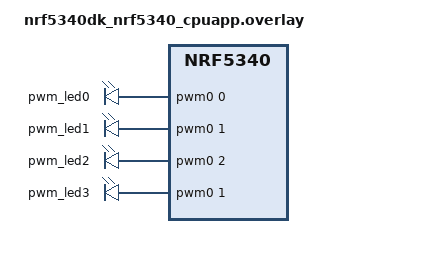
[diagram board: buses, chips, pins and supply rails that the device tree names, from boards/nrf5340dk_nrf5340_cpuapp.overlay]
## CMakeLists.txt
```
# SPDX-License-Identifier: Apache-2.0

cmake_minimum_required(VERSION 3.20.0)
find_package(Zephyr REQUIRED HINTS $ENV{ZEPHYR_BASE})
project(blinky)

target_sources(app PRIVATE src/main.c 
						   src/app_sensors.c 
						   src/app_bt.c
						   src/app_led.c)
target_include_directories(app PRIVATE include ../common/include)
```

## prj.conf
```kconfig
# Bluetooth configuration
CONFIG_BT=y
CONFIG_BT_PERIPHERAL=y
CONFIG_BT_DEVICE_NAME="Whack-A-Mole Button"
CONFIG_BT_DEVICE_APPEARANCE=833
CONFIG_BT_MAX_CONN=1
CONFIG_BT_NUS=y
```

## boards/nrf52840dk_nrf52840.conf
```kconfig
CONFIG_GPIO=y
CONFIG_PWM=y
CONFIG_CONSOLE=y
CONFIG_LOG=y
CONFIG_LOG_BACKEND_RTT=y
CONFIG_RTT_CONSOLE=y

# Bluetooth configuration
CONFIG_BT=y
CONFIG_BT_PERIPHERAL=y
CONFIG_BT_DEVICE_NAME="Whack-A-Mole Button"
CONFIG_BT_DEVICE_APPEARANCE=833
CONFIG_BT_MAX_CONN=1
CONFIG_BT_NUS=y
```

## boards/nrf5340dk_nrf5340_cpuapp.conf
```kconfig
CONFIG_GPIO=y
CONFIG_PWM=y
CONFIG_CONSOLE=y
CONFIG_LOG=y
```

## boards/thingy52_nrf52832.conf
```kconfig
CONFIG_GPIO=y
CONFIG_I2C=y
CONFIG_SENSOR=y
CONFIG_MPU6050=y
CONFIG_MPU6050_TRIGGER_NONE=y
CONFIG_CONSOLE=y
CONFIG_LOG=y
CONFIG_LOG_BACKEND_RTT=y
CONFIG_RTT_CONSOLE=y
```

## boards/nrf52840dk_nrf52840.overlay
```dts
/ {
    pwmleds {
		compatible = "pwm-leds";
		pwm_led1: pwm_led_1 {
			pwms = <&pwm0 1 PWM_MSEC(20) PWM_POLARITY_INVERTED>;
		};
        pwm_led2: pwm_led_2 {
			pwms = <&pwm0 2 PWM_MSEC(20) PWM_POLARITY_INVERTED>;
		};
        pwm_led3: pwm_led_3 {
			pwms = <&pwm0 1 PWM_MSEC(20) PWM_POLARITY_INVERTED>;
		};
	};
};
&pinctrl {
    pwm0_default: pwm0_default {
		group1 {
			psels = <NRF_PSEL(PWM_OUT0, 0, 13)>,
                    <NRF_PSEL(PWM_OUT1, 0, 14)>,
                    <NRF_PSEL(PWM_OUT2, 0, 15)>,
                    <NRF_PSEL(PWM_OUT3, 0, 16)>;
			nordic,invert;
		};
	};

	pwm0_sleep: pwm0_sleep {
		group1 {
			psels = <NRF_PSEL(PWM_OUT0, 0, 13)>,
                    <NRF_PSEL(PWM_OUT1, 0, 14)>,
                    <NRF_PSEL(PWM_OUT2, 0, 15)>,
                    <NRF_PSEL(PWM_OUT3, 0, 16)>;
			low-power-enable;
		};
	};
};
```

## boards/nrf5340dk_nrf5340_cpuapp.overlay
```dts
/ {
    pwmleds {
		compatible = "pwm-leds";
		pwm_led0: pwm_led_0 {
			pwms = <&pwm0 0 PWM_MSEC(20) PWM_POLARITY_INVERTED>;
		};
		pwm_led1: pwm_led_1 {
			pwms = <&pwm0 1 PWM_MSEC(20) PWM_POLARITY_INVERTED>;
		};
        pwm_led2: pwm_led_2 {
			pwms = <&pwm0 2 PWM_MSEC(20) PWM_POLARITY_INVERTED>;
		};
        pwm_led3: pwm_led_3 {
			pwms = <&pwm0 1 PWM_MSEC(20) PWM_POLARITY_INVERTED>;
		};
	};
};
&pinctrl {
    pwm0_default: pwm0_default {
		group1 {
			psels = <NRF_PSEL(PWM_OUT0, 0, 28)>,
                    <NRF_PSEL(PWM_OUT1, 0, 29)>,
                    <NRF_PSEL(PWM_OUT2, 0, 30)>,
                    <NRF_PSEL(PWM_OUT3, 0, 31)>;
			nordic,invert;
		};
	};

	pwm0_sleep: pwm0_sleep {
		group1 {
			psels = <NRF_PSEL(PWM_OUT0, 0, 28)>,
                    <NRF_PSEL(PWM_OUT1, 0, 29)>,
                    <NRF_PSEL(PWM_OUT2, 0, 30)>,
                    <NRF_PSEL(PWM_OUT3, 0, 31)>;
			low-power-enable;
		};
	};
};
```

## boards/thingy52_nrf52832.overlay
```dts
// To get started, press Ctrl+Space to bring up the completion menu and view the available nodes.

// You can also use the buttons in the sidebar to perform actions on nodes.
// Actions currently available include:

// * Enabling / disabling the node
// * Adding the bus to a bus
// * Removing the node
// * Connecting ADC channels

// For more help, browse the DeviceTree documentation at https://docs.zephyrproject.org/latest/guides/dts/index.html
// You can also visit the nRF DeviceTree extension documentation at https://nrfconnect.github.io/vscode-nrf-connect/devicetree/nrfdevicetree.html
&i2c0 {
	mpu9250: mpu9250@68 {
		compatible = "invensense,mpu6050";
		reg = <0x68>;
		status = "okay";
		label = "MPU9250";
		int-gpios = <&gpio0 06 GPIO_ACTIVE_HIGH>;
	};
};

&sx1509b {
	status = "okay";
};
```

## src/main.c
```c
/*
 * Copyright (c) 2016 Intel Corporation
 *
 * SPDX-License-Identifier: Apache-2.0
 */

#include <zephyr/kernel.h>
#include <zephyr/drivers/gpio.h>
#include <zephyr/device.h>
#include <app_sensors.h>
#include <app_bt.h>
#include <app_led.h>
#include <string.h>
#include <stdio.h>

/* 1000 msec = 1 sec */
#define SLEEP_TIME_MS   1000

#define BUTTON0_NODE DT_NODELABEL(button0)

static const struct gpio_dt_spec button = GPIO_DT_SPEC_GET(BUTTON0_NODE, gpios);

static struct {
	bool trial_started;
	uint32_t start_time;
	uint32_t time; 
} m_trial_data = {0};

void challenge_timeout_func(struct k_timer *timer_id); 
K_TIMER_DEFINE(m_timer_challenge_timeout, challenge_timeout_func, NULL);

void trial_done_func(struct k_work *work)
{
	static uint8_t rsp_string[32];
	app_led_set(LED_COLOR_BLACK);
	printk("Trial completed in %i milliseconds\n", m_trial_data.time);
	sprintf(rsp_string, "TD:%.6i", m_trial_data.time);
	app_bt_send(rsp_string, strlen(rsp_string));
}

void trial_timeout_func(struct k_work *work)
{
	app_led_set(LED_COLOR_BLACK);
	app_bt_send("TO", 2);
}

void send_ping_func(struct k_work *work)
{
	app_bt_send("PING", 4);
}

K_WORK_DEFINE(m_work_trial_done, trial_done_func);
K_WORK_DEFINE(m_work_trial_timeout, trial_timeout_func);
K_WORK_DEFINE(m_work_send_ping, send_ping_func);

void on_button_pressed(const struct device *port, struct gpio_callback *cb, gpio_port_pins_t pins)
{
	if(m_trial_data.trial_started) {
		m_trial_data.time = k_uptime_get_32() - m_trial_data.start_time;
		m_trial_data.trial_started = false;		
		k_work_submit(&m_work_trial_done);
	}
	else {
		k_work_submit(&m_work_send_ping);
	}
}

void challenge_timeout_func(struct k_timer *timer_id)
{
	if (m_trial_data.trial_started) {
		m_trial_data.trial_started = false;
		k_work_submit(&m_work_trial_timeout);
	}
}

static int button_led_init(void)
{
	int ret;

	ret = app_led_init();
	if (ret < 0) {
		printk("LED init error (err %i)", ret);
		return ret;
	}

	if (!device_is_ready(button.port)) {
		return -1;
	}

	ret = gpio_pin_configure_dt(&button, GPIO_INPUT);
	if (ret < 0) {
		return -1;
	}
	
	ret = gpio_pin_interrupt_configure_dt(&button, GPIO_INT_EDGE_TO_ACTIVE);
	if (ret != 0) {
		printk("Error %d: failed to configure interrupt on %s pin %d\n",
			ret, button.port->name, button.pin);
		return ret;
	}
	
	static struct gpio_callback button_callback;
	gpio_init_callback(&button_callback, on_button_pressed, BIT(button.pin));
	gpio_add_callback(button.port, &button_callback);

	return 0;
}

void sensors_callback(app_sensors_event_t *event)
{

}

void bluetooth_callback(app_bt_event_t *event)
{
	switch(event->type) {
		case APP_BT_EVT_CONNECTED:
			printk("Bluetooth connected\n");
			app_led_set(LED_COLOR_BLACK);
			m_trial_data.trial_started = false;
			break;
		case APP_BT_EVT_DISCONNECTED:
			printk("Bluetooth disconnected\n");
			app_led_blink(LED_COLOR_BLUE, LED_COLOR_BLACK, 250);
			break;
		case APP_BT_EVT_RX:
#if 0
			printk("BT RX:");
			for(int i = 0; i < event->length; i++) {
				if(event->buf[i] > 32 && event->buf[i] < 128) printk("0x%.2X '%c' ", event->buf[i], event->buf[i]);
				else printk("0x%.2X ", event->buf[i]);
			} 
			printk("\n");
#endif
			// LED command 
			// L - Start trial (0/1) - Led mode (P/B) - Color 1 RGB - Color 2 RGB - Color End RGB - Speed - Num repeats (255 - infinite)
			// 0 - 1                 - 2              - 3 4 5       -  6 7 8      - 9 10 11       - 12    - 13      
			if(event->buf[0] == 'L' && event->length >= 14) {
				led_effect_cfg_t led_effect;
				// Check if a new challenge/trial should be started
				if(event->buf[1] == '1' && !m_trial_data.trial_started) {
					m_trial_data.trial_started = true;
					m_trial_data.start_time = k_uptime_get_32();
				}
				// Check if a new challenge/trial with timeout should be started
				else if(event->buf[1] == '2' && !m_trial_data.trial_started && event->length >= 16) {
					m_trial_data.trial_started = true;
					m_trial_data.start_time = k_uptime_get_32();

					uint16_t timeout_ms = (uint16_t)event->buf[14] << 8 | (uint16_t)event->buf[15];
					k_timer_start(&m_timer_challenge_timeout, K_MSEC(timeout_ms), K_MSEC(0));
				}
				// Check if we should blink the LED
				if(event->buf[2] == 'P') {
					led_effect.type = LED_EFFECT_PULSE;
					led_effect.color1 = COLOR_FROM_BUF(event->buf, 3);
					led_effect.color2 = COLOR_FROM_BUF(event->buf, 6);
					led_effect.color_end = COLOR_FROM_BUF(event->buf, 9);
					led_effect.speed = event->buf[12];
					led_effect.num_repeats = event->buf[13];
					app_led_set_effect(&led_effect);
				}
			}
			// Reset command
			else if(memcmp(event->buf, "RST", 3) == 0) {
				app_led_off();
				m_trial_data.trial_started = false;
			}
			break;
	}
}

void main(void)
{
	int ret;

	ret = button_led_init();
	if (ret < 0) {
		printk("Button/LED init failed\n");
		return;
	}

#if defined(CONFIG_BOARD_THINGY52_NRF52832)
	ret = app_sensors_init(sensors_callback);
	if (ret < 0) {
		printk("Sensors init failed (err %d)\n", ret);
		return;
	}
#endif

	ret = app_bt_init(bluetooth_callback);
	if (ret < 0) {
		printk("Bluetooth init failed (err %i)", ret);
		return;
	}
	
	printk("Basic Thingy52 sensor sample\n");

	app_led_blink(LED_COLOR_BLUE, LED_COLOR_BLACK, 250);

	while (1) {
		k_msleep(SLEEP_TIME_MS);
	}
}
```

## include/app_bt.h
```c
#ifndef __APP_BT_H
#define __APP_BT_H

#include <zephyr/kernel.h>

typedef enum {APP_BT_EVT_CONNECTED, APP_BT_EVT_DISCONNECTED, APP_BT_EVT_RX} app_bt_evt_type_t;

typedef struct {
	app_bt_evt_type_t type;
	const uint8_t * buf;
	uint32_t length;
} app_bt_event_t;

typedef void (*app_bt_callback_t)(app_bt_event_t *event);

int app_bt_init(app_bt_callback_t callback);

int app_bt_send(const uint8_t *data, uint16_t len);

#endif
```

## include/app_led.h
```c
#ifndef __APP_LED_H
#define __APP_LED_H

#include <zephyr/kernel.h>
#include <color.h>


int app_led_init(void);

int app_led_set_effect(led_effect_cfg_t *cfg);

int app_led_set(led_color_t color);

int app_led_toggle(led_color_t color);

int app_led_blink(led_color_t c1, led_color_t c2, led_speed_t speed);

int app_led_off(void);

#endif
```

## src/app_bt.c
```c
#include <app_bt.h>

#include <zephyr/bluetooth/bluetooth.h>
#include <zephyr/bluetooth/uuid.h>
#include <zephyr/bluetooth/gatt.h>
#include <zephyr/bluetooth/hci.h>

#include <bluetooth/services/nus.h>

#define DEVICE_NAME CONFIG_BT_DEVICE_NAME
#define DEVICE_NAME_LEN	(sizeof(DEVICE_NAME) - 1)

static const struct bt_data ad[] = {
	BT_DATA_BYTES(BT_DATA_FLAGS, (BT_LE_AD_GENERAL | BT_LE_AD_NO_BREDR)),
	BT_DATA(BT_DATA_NAME_COMPLETE, DEVICE_NAME, DEVICE_NAME_LEN),
};

static const struct bt_data sd[] = {
	BT_DATA_BYTES(BT_DATA_UUID128_ALL, BT_UUID_NUS_VAL),
};

static app_bt_callback_t m_callback;

static app_bt_event_t m_event;

static struct bt_conn *current_conn;

static void trigger_app_callback(app_bt_evt_type_t type)
{
	m_event.type = type;
	m_callback(&m_event);
}

static void bt_connected(struct bt_conn *conn, uint8_t err)
{
	current_conn = conn;
	trigger_app_callback(APP_BT_EVT_CONNECTED);
}

static void bt_disconnected(struct bt_conn *conn, uint8_t reason)
{
	current_conn = NULL;
	trigger_app_callback(APP_BT_EVT_DISCONNECTED);
}

BT_CONN_CB_DEFINE(conn_callbacks) = {
	.connected    = bt_connected,
	.disconnected = bt_disconnected,
};

static void bt_receive_cb(struct bt_conn *conn, const uint8_t *const data, uint16_t len)
{
	m_event.type = APP_BT_EVT_RX;
	m_event.buf = data;
	m_event.length = (uint32_t)len;
	m_callback(&m_event);
}

static struct bt_nus_cb nus_cb = {
	.received = bt_receive_cb,
};

int app_bt_init(app_bt_callback_t callback)
{
	int ret;

	m_callback = callback;

	ret = bt_enable(NULL);
	if (ret < 0) {
		return ret;
	}
	

	ret = bt_nus_init(&nus_cb);
	if (ret < 0) {
		return ret;
	}

	ret = bt_le_adv_start(BT_LE_ADV_CONN, ad, ARRAY_SIZE(ad), sd, ARRAY_SIZE(sd));
	if (ret < 0) {
		return ret;
	}

	return 0;
}

int app_bt_send(const uint8_t *data, uint16_t len)
{
	return bt_nus_send(current_conn, data, len);
}
```

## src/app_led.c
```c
#include <app_led.h>
#include <zephyr/drivers/gpio.h>
#include <zephyr/device.h>
#include <string.h>

#define RED_LED DT_GPIO_PIN(DT_NODELABEL(led0), gpios)
#define GREEN_LED DT_GPIO_PIN(DT_NODELABEL(led1), gpios)
#define BLUE_LED DT_GPIO_PIN(DT_NODELABEL(led2), gpios)

#if defined(CONFIG_BOARD_THINGY52_NRF52832)	
#include <zephyr/drivers/gpio/gpio_sx1509b.h>
const struct device *dev_sx1509b;
static const gpio_pin_t rgb_pins[] = {
	RED_LED,
	GREEN_LED,
	BLUE_LED,
};
#else
#include <zephyr/drivers/pwm.h>
static const struct pwm_dt_spec pwm_leds[3] = {PWM_DT_SPEC_GET(DT_NODELABEL(pwm_led0)), PWM_DT_SPEC_GET(DT_NODELABEL(pwm_led1)), PWM_DT_SPEC_GET(DT_NODELABEL(pwm_led2))};
#endif

#define NUMBER_OF_LEDS 3

struct {
	led_effect_cfg_t config;
	uint32_t runtime;
	uint32_t repeats_left;
	bool 	infinite;
	bool 	active;
} m_led_effect_status = {0};

static void led_blink_work_handler(struct k_work *work);

static led_color_t blink_colors[2];
static uint32_t blink_speed_ms;
static struct k_work_delayable work_led_blink;
static bool led_blink_active = false;

int app_led_init(void)
{
	int ret = 0;

#if defined(CONFIG_BOARD_THINGY52_NRF52832)	
	dev_sx1509b = DEVICE_DT_GET(DT_NODELABEL(sx1509b));

	if (!device_is_ready(dev_sx1509b)) {
		printk("sx1509b: device not ready.\n");
		return -1;
	}

	for (int i = 0; i < NUMBER_OF_LEDS; i++) {
		ret = sx1509b_led_intensity_pin_configure(dev_sx1509b, rgb_pins[i]);

		if (ret < 0) {
			printk("Error configuring pin for LED intensity\n");
			return ret;
		}
	}
#else
	for (int i = 0; i < NUMBER_OF_LEDS; i++) {
		if (!device_is_ready(pwm_leds[i].dev)) {
			printk("PWM device %i is not ready!\n", i);
			return -ENODEV;
		}
	}
#endif 

	k_work_init_delayable(&work_led_blink, led_blink_work_handler);
	
	return ret;
}

static int led_set_color(led_color_t color)
{
	int ret = 0;
#if defined(CONFIG_BOARD_THINGY52_NRF52832)
	ret = sx1509b_led_intensity_pin_set(dev_sx1509b, RED_LED, COLOR_CH_RED(color));
	if (ret == 0) {
		ret = sx1509b_led_intensity_pin_set(dev_sx1509b, GREEN_LED, COLOR_CH_GREEN(color));
	}
	if (ret == 0) {
		ret = sx1509b_led_intensity_pin_set(dev_sx1509b, BLUE_LED, COLOR_CH_BLUE(color));	
	}
#else 
	ret = pwm_set_dt(&pwm_leds[0], 255, COLOR_CH_RED(color));
	if (ret == 0) {
		ret = pwm_set_dt(&pwm_leds[1], 255, COLOR_CH_GREEN(color));
	}
	if (ret == 0) {
		ret = pwm_set_dt(&pwm_leds[2], 255, COLOR_CH_BLUE(color));
	}
#endif
	return ret;
}

int app_led_set(led_color_t color)
{
	if(led_blink_active || m_led_effect_status.active) {
		led_blink_active = false;
		m_led_effect_status.active = false;
		k_work_cancel_delayable(&work_led_blink);
	}

	return led_set_color(color);
}

int app_led_toggle(led_color_t color1)
{
	static bool led_on = true;
	led_on = !led_on;
	return led_set_color(led_on ? color1 : LED_COLOR_BLACK);
}

int app_led_set_effect(led_effect_cfg_t *cfg)
{
	memcpy(&m_led_effect_status.config, cfg, sizeof(led_effect_cfg_t));
	m_led_effect_status.runtime = 0;
	m_led_effect_status.active = true;
    m_led_effect_status.infinite = (cfg->num_repeats == LED_REPEAT_INFINITE);
	blink_speed_ms = 20;
	return k_work_schedule(&work_led_blink, K_NO_WAIT);
}

static void led_blink_work_handler(struct k_work *work)
{
	if(m_led_effect_status.active) {
		uint32_t new_color;
		uint32_t mix_factor = m_led_effect_status.runtime % 512 + 1;
		if(mix_factor <= 256) {
			new_color = COLOR_MIX(m_led_effect_status.config.color1, m_led_effect_status.config.color2, mix_factor);
		}
		else {
			new_color = COLOR_MIX(m_led_effect_status.config.color1, m_led_effect_status.config.color2, 512 - mix_factor);
		}
		led_set_color(new_color);
		m_led_effect_status.runtime += m_led_effect_status.config.speed;
		
		// Check if the effect should expire
		if(!m_led_effect_status.infinite && (m_led_effect_status.runtime / 512) >= m_led_effect_status.config.num_repeats) {
			led_set_color(m_led_effect_status.config.color_end);
			m_led_effect_status.active = false;
			return;
		}
	}
	else {
		static bool color_select;
		color_select = !color_select;
		led_set_color(blink_colors[color_select ? 0 : 1]);
	}
	k_work_schedule(k_work_delayable_from_work(work), K_MSEC(blink_speed_ms));
}

int app_led_blink(led_color_t c1, led_color_t c2, led_speed_t speed)
{
	if(led_blink_active || m_led_effect_status.active) {
		m_led_effect_status.active = false;
		k_work_cancel_delayable(&work_led_blink);
	}

	blink_colors[0] = c1;
	blink_colors[1] = c2;
	blink_speed_ms = (uint32_t)speed;

	led_blink_active = true;	
	return k_work_schedule(&work_led_blink, K_NO_WAIT);
}

int app_led_off(void)
{
	if(led_blink_active || m_led_effect_status.active) {
		led_blink_active = false;
		m_led_effect_status.active = false;
		k_work_cancel_delayable(&work_led_blink);
	}
	return led_set_color(LED_COLOR_BLACK);
}
```

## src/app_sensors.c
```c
#include "app_sensors.h"
#include <zephyr/device.h>
#include <zephyr/drivers/gpio.h>
#include <stdio.h>

#if defined(CONFIG_BOARD_THINGY52_NRF52832)
#include <zephyr/drivers/sensor.h>
static const struct device *dev_mpu9250;

static app_sensors_callback_t m_callback;

static const char *now_str(void)
{
	static char buf[16]; /* ...HH:MM:SS.MMM */
	uint32_t now = k_uptime_get_32();
	unsigned int ms = now % MSEC_PER_SEC;
	unsigned int s;
	unsigned int min;
	unsigned int h;

	now /= MSEC_PER_SEC;
	s = now % 60U;
	now /= 60U;
	min = now % 60U;
	now /= 60U;
	h = now;

	snprintf(buf, sizeof(buf), "%u:%02u:%02u.%03u",
		 h, min, s, ms);
	return buf;
}

static int process_mpu6050()
{
	struct sensor_value temperature;
	struct sensor_value accel[3];
	struct sensor_value gyro[3];
	int rc = sensor_sample_fetch(dev_mpu9250);

	if (rc == 0) {
		rc = sensor_channel_get(dev_mpu9250, SENSOR_CHAN_ACCEL_XYZ, accel);
	}
	if (rc == 0) {
		rc = sensor_channel_get(dev_mpu9250, SENSOR_CHAN_GYRO_XYZ, gyro);
	}
	if (rc == 0) {
		rc = sensor_channel_get(dev_mpu9250, SENSOR_CHAN_AMBIENT_TEMP, &temperature);
	}
	if (rc == 0) {
		printk("[%s]:%i Cel\n"
		       "  accel %i %i %i m/s/s\n"
		       "  gyro  %i %i %i rad/s\n",
		       now_str(),
		       (int)(100*sensor_value_to_double(&temperature)),
		       (int)(100*sensor_value_to_double(&accel[0])),
		       (int)(100*sensor_value_to_double(&accel[1])),
		       (int)(100*sensor_value_to_double(&accel[2])),
		       (int)(100*sensor_value_to_double(&gyro[0])),
		       (int)(100*sensor_value_to_double(&gyro[1])),
		       (int)(100*sensor_value_to_double(&gyro[2])));
	} else {
		printk("sample fetch/get failed: %d\n", rc);
	}

	return rc;
}

int app_sensors_init(app_sensors_callback_t callback)
{
	m_callback = callback;

	const char *mpu9250_label = "MPU9250";
	dev_mpu9250 = device_get_binding(mpu9250_label);
	if (!dev_mpu9250) {
		printk("Failed to find sensor %s\n", mpu9250_label);
		return -ENODEV;
	}

	return 0;
}

int app_sensors_read_mpu(void)
{
	process_mpu6050();

	return 0;
}

static const struct gpio_dt_spec mpu_pwr = 
	GPIO_DT_SPEC_GET(DT_NODELABEL(mpu_pwr), enable_gpios);

static int mpu_pwr_ctrl_init(const struct device *dev)
{
	if (!device_is_ready(mpu_pwr.port)) {
		return -ENODEV;
	}

	int ret = gpio_pin_configure_dt(&mpu_pwr, GPIO_OUTPUT_HIGH);
	if (ret < 0) {
		return ret;
	}

	k_sleep(K_MSEC(100)); /* Wait for the rail to come up and stabilize */
	
	return 0;
}

SYS_INIT(mpu_pwr_ctrl_init, POST_KERNEL,
	 CONFIG_BOARD_CCS_VDD_PWR_CTRL_INIT_PRIORITY);

#endif // defined(CONFIG_BOARD_THINGY52_NRF52832)
```
